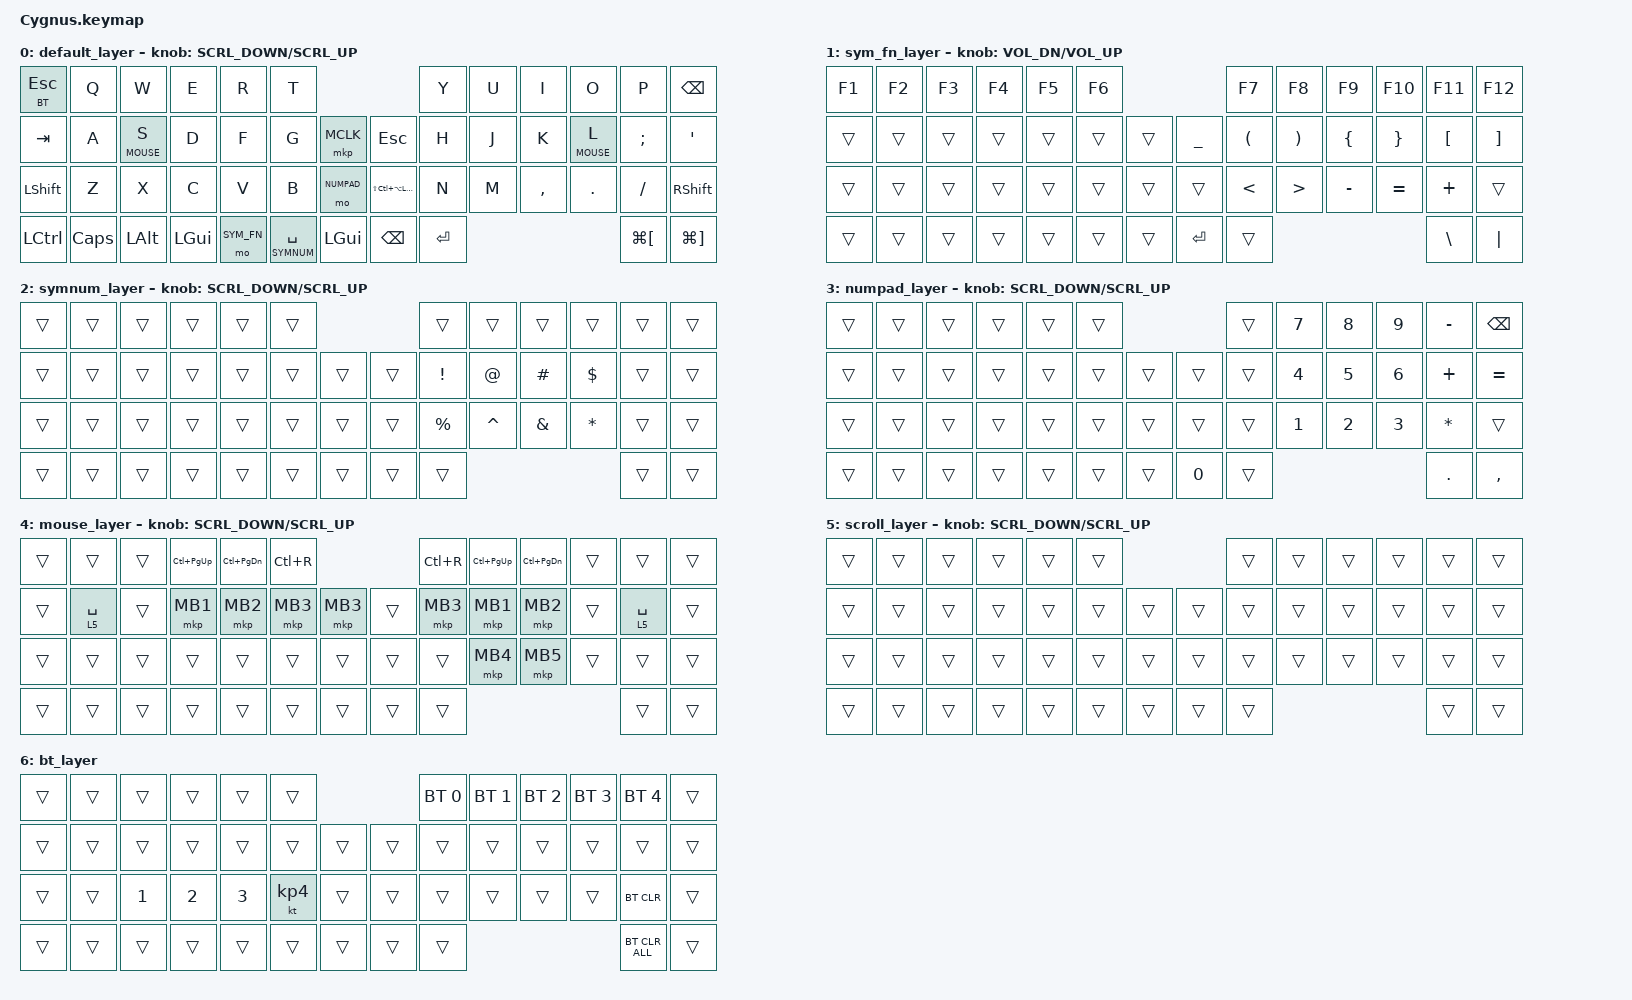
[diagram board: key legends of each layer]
#define ZMK_POINTING_DEFAULT_SCRL_VAL 120    // default: 10

#include <behaviors.dtsi>
#include <dt-bindings/zmk/bt.h>
#include <dt-bindings/zmk/keys.h>
#include <dt-bindings/zmk/pointing.h>

#define BASE   0
#define SYM_FN 1
#define SYMNUM 2
#define NUMPAD 3
#define MOUSE  4
#define SCROLL 5
#define BT     6

&mt {
    flavor = "balanced";
    quick-tap-ms = <0>;
};

/ {
    combos {
        compatible = "zmk,combos";

        double_quotation {
            bindings = <&kp DOUBLE_QUOTES>;
            key-positions = <20 21>;
        };
    };

    macros {
        to_layer_0: to_layer_0 {
            compatible = "zmk,behavior-macro-one-param";
            #binding-cells = <1>;
            bindings = <&to 0 &macro_param_1to1 &kp MACRO_PLACEHOLDER>;
            label = "TO_LAYER_0";
        };
    };

    behaviors {
        lt_to_layer_0: lt_to_layer_0 {
            compatible = "zmk,behavior-hold-tap";
            label = "LAYER_TAP_TO_0";
            bindings = <&mo>, <&to_layer_0>;

            #binding-cells = <2>;
            tapping-term-ms = <200>;
        };

        ROTATE: ROTATE {
            compatible = "zmk,behavior-sensor-rotate-var";
            label = "ROTATE";
            #sensor-binding-cells = <2>;
            bindings = <&msc>, <&msc>;

            tap-ms = <20>;
        };

        // Assign to L in ZMK Studio. Requires position 40 to send a real LCTRL
        // (Karabiner's global caps<->ctrl swap must not apply to this keyboard),
        // otherwise the firmware never sees a modifier and this never morphs.
        lt_l: lt_l_ctrl_aware {
            compatible = "zmk,behavior-mod-morph";
            #binding-cells = <0>;
            display-name = "LT-L (Ctrl aware)";
            bindings  = <&lt MOUSE L>, <&kp L>;
            mods      = <(MOD_LCTL|MOD_RCTL)>;
            keep-mods = <(MOD_LCTL|MOD_RCTL)>;
        };
    };

    keymap {
        compatible = "zmk,keymap";

        default_layer {
            // MacBook-like base. S/L are Lkeymouse layer-tap (hold = MOUSE; J=click).
            // A and SEMI are plain (SCROLL layer-tap removed). Del position = NUMPAD hold.
            // Left thumb: 44=SYM_FN hold, 45=Space/SYMNUM hold, 46=Cmd.
            // 40=Ctrl, 41=Caps: lt_l needs the firmware to see a real LCTRL, so
            // Karabiner must not swap caps/ctrl for this keyboard. Don't flip these back.
            bindings = <
&lt BT ESC  &kp Q       &kp W       &kp E       &kp R       &kp T                                                     &kp Y        &kp U  &kp I      &kp O        &kp P         &kp BSPC
&kp TAB     &kp A       &lt MOUSE S &kp D       &kp F       &kp G              &mkp MCLK          &kp ESC             &kp H        &kp J  &kp K      &lt MOUSE L  &kp SEMI      &kp SQT
&kp LSHFT   &kp Z       &kp X       &kp C       &kp V       &kp B              &mo NUMPAD         &kp LS(LC(LA(LGUI))) &kp N        &kp M  &kp COMMA  &kp DOT      &kp FSLH      &kp RSHFT
&kp LCTRL   &kp CAPS    &kp LALT    &kp LGUI    &mo SYM_FN  &lt SYMNUM SPACE   &kp LGUI           &kp BSPC            &kp ENTER                                  &kp LG(LBKT)  &kp LG(RBKT)
            >;

            sensor-bindings = <&ROTATE SCRL_DOWN SCRL_UP>;
        };

        sym_fn_layer {
            // Top row: F1-F12. Right hand: programming symbols. Left hand: trans.
            bindings = <
&kp F1      &kp F2      &kp F3      &kp F4      &kp F5      &kp F6                                              &kp F7       &kp F8     &kp F9      &kp F10     &kp F11     &kp F12
&trans      &trans      &trans      &trans      &trans      &trans       &trans             &kp UNDER           &kp LPAR     &kp RPAR   &kp LBRC    &kp RBRC    &kp LBKT    &kp RBKT
&trans      &trans      &trans      &trans      &trans      &trans       &trans             &trans              &kp LT       &kp GT     &kp MINUS   &kp EQUAL   &kp PLUS    &trans
&trans      &trans      &trans      &trans      &trans      &trans       &trans             &kp ENTER           &trans                                          &kp BSLH    &kp PIPE
            >;

            sensor-bindings = <&ROTATE C_VOL_DN C_VOL_UP>;
        };

        symnum_layer {
            // !@#$%^&* — the shifted-number-row symbols as a 2x4 block on the right hand.
            // H J K L = ! @ # $   /   N M , . = % ^ & *   (stacked: !@#$ on home, %^&* directly below).
            // Activated by holding left thumb middle (Space key).
            bindings = <
&trans      &trans      &trans      &trans      &trans      &trans                                              &trans       &trans     &trans      &trans      &trans      &trans
&trans      &trans      &trans      &trans      &trans      &trans       &trans             &trans              &kp EXCL     &kp AT     &kp HASH    &kp DLLR    &trans      &trans
&trans      &trans      &trans      &trans      &trans      &trans       &trans             &trans              &kp PRCNT    &kp CARET  &kp AMPS    &kp STAR    &trans      &trans
&trans      &trans      &trans      &trans      &trans      &trans       &trans             &trans              &trans                                          &trans      &trans
            >;

            sensor-bindings = <&ROTATE SCRL_DOWN SCRL_UP>;
        };

        numpad_layer {
            // Right hand calculator numpad (N* avoids NumLock-arrow issue).
            // Activated by holding the Del-position key (left row-3 inner).
            bindings = <
&trans      &trans      &trans      &trans      &trans      &trans                                              &trans       &kp N7     &kp N8      &kp N9      &kp MINUS   &kp BSPC
&trans      &trans      &trans      &trans      &trans      &trans       &trans             &trans              &trans       &kp N4     &kp N5      &kp N6      &kp PLUS    &kp EQUAL
&trans      &trans      &trans      &trans      &trans      &trans       &trans             &trans              &trans       &kp N1     &kp N2      &kp N3      &kp STAR    &trans
&trans      &trans      &trans      &trans      &trans      &trans       &trans             &kp N0              &trans                                          &kp DOT     &kp COMMA
            >;

            sensor-bindings = <&ROTATE SCRL_DOWN SCRL_UP>;
        };

        mouse_layer {
            // Activated by holding S or L (Lkeymouse default). J = MB1 (left click).
            bindings = <
&trans  &trans       &trans  &kp LC(PAGE_UP)  &kp LC(PAGE_DOWN)  &kp LC(R)                      &kp LC(R)  &kp LC(PAGE_UP)  &kp LC(PAGE_DOWN)  &trans  &trans       &trans
&trans  &lt 5 SPACE  &trans  &mkp MB1         &mkp MB2           &mkp MB3   &mkp MB3    &trans  &mkp MB3   &mkp MB1         &mkp MB2           &trans  &lt 5 SPACE  &trans
&trans  &trans       &trans  &trans           &trans             &trans     &trans      &trans  &trans     &mkp MB4         &mkp MB5           &trans  &trans       &trans
&trans  &trans       &trans  &trans           &trans             &trans     &trans      &trans  &trans                                                 &trans       &trans
            >;

            sensor-bindings = <&ROTATE SCRL_DOWN SCRL_UP>;
        };

        scroll_layer {
            // All transparent; reachable from the MOUSE layer.
            bindings = <
&trans  &trans  &trans  &trans  &trans  &trans                    &trans  &trans  &trans  &trans  &trans  &trans
&trans  &trans  &trans  &trans  &trans  &trans  &trans    &trans  &trans  &trans  &trans  &trans  &trans  &trans
&trans  &trans  &trans  &trans  &trans  &trans  &trans    &trans  &trans  &trans  &trans  &trans  &trans  &trans
&trans  &trans  &trans  &trans  &trans  &trans  &trans    &trans  &trans                          &trans  &trans
            >;

            sensor-bindings = <&ROTATE SCRL_DOWN SCRL_UP>;
        };

        bt_layer {
            // Activated by Esc (top-left) hold. BT_SEL on right top row.
            bindings = <
&trans  &trans  &trans        &trans        &trans        &trans                       &bt BT_SEL 0  &bt BT_SEL 1  &bt BT_SEL 2  &bt BT_SEL 3  &bt BT_SEL 4    &trans
&trans  &trans  &trans        &trans        &trans        &trans     &trans    &trans  &trans        &trans        &trans        &trans        &trans          &trans
&trans  &trans  &kp NUMBER_1  &kp NUMBER_2  &kp NUMBER_3  &kt KP_N4  &trans    &trans  &trans        &trans        &trans        &trans        &bt BT_CLR      &trans
&trans  &trans  &trans        &trans        &trans        &trans     &trans    &trans  &trans                                                  &bt BT_CLR_ALL  &trans
            >;
        };
    };
};
